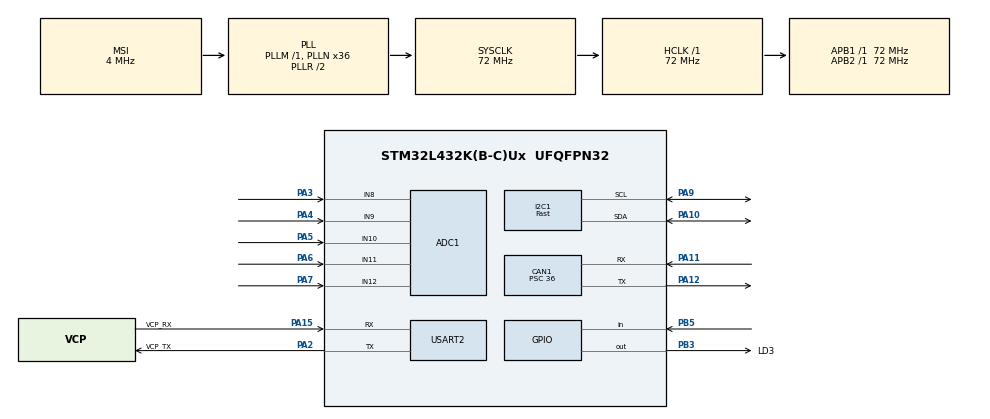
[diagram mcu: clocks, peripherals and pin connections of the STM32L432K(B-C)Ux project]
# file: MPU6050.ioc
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ADC1.Channel-0\#ChannelRegularConversion=ADC_CHANNEL_8
ADC1.Channel-1\#ChannelRegularConversion=ADC_CHANNEL_9
ADC1.Channel-2\#ChannelRegularConversion=ADC_CHANNEL_10
ADC1.Channel-3\#ChannelRegularConversion=ADC_CHANNEL_11
ADC1.Channel-4\#ChannelRegularConversion=ADC_CHANNEL_12
ADC1.ContinuousConvMode=DISABLE
ADC1.DMAContinuousRequests=ENABLE
ADC1.ExternalTrigConv=ADC_EXTERNALTRIG_T1_TRGO
ADC1.NbrOfConversion=5
ADC1.NbrOfConversionFlag=1
ADC1.OffsetNumber-0\#ChannelRegularConversion=ADC_OFFSET_NONE
ADC1.OffsetNumber-1\#ChannelRegularConversion=ADC_OFFSET_NONE
ADC1.OffsetNumber-2\#ChannelRegularConversion=ADC_OFFSET_NONE
ADC1.OffsetNumber-3\#ChannelRegularConversion=ADC_OFFSET_NONE
ADC1.OffsetNumber-4\#ChannelRegularConversion=ADC_OFFSET_NONE
ADC1.OversamplingMode=ENABLE
ADC1.Rank-0\#ChannelRegularConversion=1
ADC1.Rank-1\#ChannelRegularConversion=2
ADC1.Rank-2\#ChannelRegularConversion=3
ADC1.Rank-3\#ChannelRegularConversion=4
ADC1.Rank-4\#ChannelRegularConversion=5
ADC1.Ratio=ADC_OVERSAMPLING_RATIO_16
ADC1.RightBitShift=ADC_RIGHTBITSHIFT_4
ADC1.SamplingTime-0\#ChannelRegularConversion=ADC_SAMPLETIME_640CYCLES_5
ADC1.SamplingTime-1\#ChannelRegularConversion=ADC_SAMPLETIME_2CYCLES_5
ADC1.SamplingTime-2\#ChannelRegularConversion=ADC_SAMPLETIME_2CYCLES_5
ADC1.SamplingTime-3\#ChannelRegularConversion=ADC_SAMPLETIME_2CYCLES_5
ADC1.SamplingTime-4\#ChannelRegularConversion=ADC_SAMPLETIME_2CYCLES_5
ADC1.master=1
CAN1.BS1=CAN_BS1_3TQ
CAN1.BS2=CAN_BS2_4TQ
CAN1.CalculateBaudRate=250000
CAN1.CalculateTimeBit=4000
CAN1.CalculateTimeQuantum=500.0
CAN1.Prescaler=36
Dma.ADC1.0.Direction=DMA_PERIPH_TO_MEMORY
Dma.ADC1.0.Instance=DMA1_Channel1
Dma.ADC1.0.MemDataAlignment=DMA_MDATAALIGN_HALFWORD
Dma.ADC1.0.MemInc=DMA_MINC_ENABLE
Dma.ADC1.0.Mode=DMA_CIRCULAR
Dma.ADC1.0.PeriphDataAlignment=DMA_PDATAALIGN_HALFWORD
Dma.ADC1.0.PeriphInc=DMA_PINC_DISABLE
Dma.ADC1.0.Priority=DMA_PRIORITY_LOW
Dma.Request0=ADC1
I2C1.I2C_Speed_Mode=I2C_Fast
I2C1.Timing=0x00702681
Mcu.Family=STM32L4
Mcu.Name=STM32L432K(B-C)Ux
Mcu.Package=UFQFPN32
NVIC.DMA1_Channel1_IRQn=true\:0\:0\:false\:false\:true\:false\:true\:true
NVIC.PriorityGroup=NVIC_PRIORITYGROUP_4
PA10.Mode=I2C
PA10.Signal=I2C1_SDA
PA11.GPIO_PuPd=GPIO_PULLUP
PA11.Mode=CAN_Activate
PA11.Signal=CAN1_RX
PA12.Mode=CAN_Activate
PA12.Signal=CAN1_TX
PA13\ (JTMS-SWDIO).GPIO_Label=SWDIO
PA13\ (JTMS-SWDIO).Mode=Serial_Wire
PA13\ (JTMS-SWDIO).Signal=SYS_JTMS-SWDIO
PA14\ (JTCK-SWCLK).GPIO_Label=SWCLK
PA14\ (JTCK-SWCLK).Mode=Serial_Wire
PA14\ (JTCK-SWCLK).Signal=SYS_JTCK-SWCLK
PA15\ (JTDI).GPIO_Label=VCP_RX
PA15\ (JTDI).Mode=Asynchronous
PA15\ (JTDI).Signal=USART2_RX
PA2.GPIO_Label=VCP_TX
PA2.Mode=Asynchronous
PA2.Signal=USART2_TX
PA3.Signal=ADCx_IN8
PA4.Signal=ADCx_IN9
PA5.Signal=ADCx_IN10
PA6.Signal=ADCx_IN11
PA7.Signal=ADCx_IN12
PA9.Mode=I2C
PA9.Signal=I2C1_SCL
PB3\ (JTDO-TRACESWO).GPIO_Label=LD3
PB3\ (JTDO-TRACESWO).Signal=GPIO_Output
PB5.Signal=GPIO_Input
ProjectManager.HeapSize=0x200
ProjectManager.StackSize=0x400
ProjectManager.TargetToolchain=Makefile
RCC.ADCFreq_Value=32000000
RCC.AHBFreq_Value=72000000
RCC.APB1Freq_Value=72000000
RCC.APB1TimFreq_Value=72000000
RCC.APB2Freq_Value=72000000
RCC.APB2TimFreq_Value=72000000
RCC.CortexFreq_Value=72000000
RCC.HCLKFreq_Value=72000000
RCC.HSE_VALUE=8000000
RCC.HSI16_VALUE=16000000
RCC.HSI48_VALUE=48000000
RCC.HSI_VALUE=16000000
RCC.MSI_VALUE=4000000
RCC.PLLMUL=RCC_PLLMUL_4
RCC.PLLN=36
RCC.PLLSAI1N=16
RCC.SYSCLKFreq_VALUE=72000000
RCC.SYSCLKSource=RCC_SYSCLKSOURCE_PLLCLK
RCC.USBFreq_Value=32000000
RCC.VCOOutputFreq_Value=144000000
SH.ADCx_IN10.0=ADC1_IN10,IN10-Single-Ended
SH.ADCx_IN11.0=ADC1_IN11,IN11-Single-Ended
SH.ADCx_IN12.0=ADC1_IN12,IN12-Single-Ended
SH.ADCx_IN8.0=ADC1_IN8,IN8-Single-Ended
SH.ADCx_IN9.0=ADC1_IN9,IN9-Single-Ended
TIM1.Period=9999
TIM1.Prescaler=719
TIM1.TIM_MasterOutputTrigger=TIM_TRGO_UPDATE
USART2.VirtualMode-Asynchronous=VM_ASYNC
VP_TIM1_VS_ClockSourceINT.Mode=Internal
board=NUCLEO-L432KC

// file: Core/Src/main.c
/* USER CODE BEGIN Header */
/**
  ******************************************************************************
  * @file           : main.c
  * @brief          : Main program body
  ******************************************************************************
  * @attention
  *
  * Copyright (c) 2024 STMicroelectronics.
  * All rights reserved.
  *
  * This software is licensed under terms that can be found in the LICENSE file
  * in the root directory of this software component.
  * If no LICENSE file comes with this software, it is provided AS-IS.
  *
  ******************************************************************************
  */
/* USER CODE END Header */
#include "main.h"
#include "adc.h"
#include "can.h"
#include "dma.h"
#include "i2c.h"
#include "tim.h"
#include "usart.h"
#include "gpio.h"

/* USER CODE BEGIN Includes */
#include "stdio.h"
#include "app_can.h"
#include "math.h"
#include "ntc.h"
//#include "MPU6050.h"
//#include "CalculateAngle.h"
/* USER CODE END Includes */

/* USER CODE BEGIN PD */
#define LD3 GPIO_PIN_3
/* USER CODE END PD */

/* USER CODE BEGIN PV */
CAN_TxHeaderTypeDef TxHeader;
CAN_RxHeaderTypeDef RxHeader;

uint32_t TxMailbox[4];

uint8_t TxData[8];
uint8_t RxData[8];

uint16_t AdcRead[5];
uint16_t calculated_temperature[4];
uint16_t damper_adc_value;

NTC_t ntc;

const double R0 = 10000.0;   	//nominal resistance @ 25*C
const double T0 = 298.15;   	//reference temerature [K]
const double B  = 3950.0;     //thermistor constant
const double Rs	= 2200.0;    	//series resistor value
const double Ucc = 3.3;       //ADC referance voltage

/* USER CODE END PV */

void SystemClock_Config(void);

int main(void)
{

  /* MCU Configuration--------------------------------------------------------*/

  /* Reset of all peripherals, Initializes the Flash interface and the Systick. */
  HAL_Init();

  /* Configure the system clock */
  SystemClock_Config();

  /* Initialize all configured peripherals */
  MX_GPIO_Init();
  MX_DMA_Init();
  MX_USART2_UART_Init();
  MX_CAN1_Init();
  MX_I2C1_Init();
  MX_ADC1_Init();
  MX_TIM1_Init();
  /* USER CODE BEGIN 2 */

  //MPU6050_Initialization();

  NTC_Init(&ntc, R0, T0, B, Rs, Ucc);

  HAL_CAN_Start(&hcan1);

  HAL_CAN_ActivateNotification(&hcan1, CAN_IT_RX_FIFO0_MSG_PENDING);

  TxHeader.DLC = 4;
  TxHeader.ExtId = 0;
  TxHeader.IDE = CAN_ID_STD;
  TxHeader.RTR = CAN_RTR_DATA;
  TxHeader.StdId = 0x222;
  TxHeader.TransmitGlobalTime = DISABLE;

  HAL_TIM_Base_Start(&htim1);
  HAL_ADC_Start_DMA(&hadc1, (uint32_t*)AdcRead, 5);

  /* USER CODE END 2 */

  /* Infinite loop */
  while (1)
  {

  }
}

void SystemClock_Config(void)
{
  RCC_OscInitTypeDef RCC_OscInitStruct = {0};
  RCC_ClkInitTypeDef RCC_ClkInitStruct = {0};

  /** Configure the main internal regulator output voltage
  */
  if (HAL_PWREx_ControlVoltageScaling(PWR_REGULATOR_VOLTAGE_SCALE1) != HAL_OK)
  {
    Error_Handler();
  }

  /** Initializes the RCC Oscillators according to the specified parameters
  * in the RCC_OscInitTypeDef structure.
  */
  RCC_OscInitStruct.OscillatorType = RCC_OSCILLATORTYPE_MSI;
  RCC_OscInitStruct.MSIState = RCC_MSI_ON;
  RCC_OscInitStruct.MSICalibrationValue = 0;
  RCC_OscInitStruct.MSIClockRange = RCC_MSIRANGE_6;
  RCC_OscInitStruct.PLL.PLLState = RCC_PLL_ON;
  RCC_OscInitStruct.PLL.PLLSource = RCC_PLLSOURCE_MSI;
  RCC_OscInitStruct.PLL.PLLM = 1;
  RCC_OscInitStruct.PLL.PLLN = 36;
  RCC_OscInitStruct.PLL.PLLP = RCC_PLLP_DIV7;
  RCC_OscInitStruct.PLL.PLLQ = RCC_PLLQ_DIV2;
  RCC_OscInitStruct.PLL.PLLR = RCC_PLLR_DIV2;
  if (HAL_RCC_OscConfig(&RCC_OscInitStruct) != HAL_OK)
  {
    Error_Handler();
  }

  /** Initializes the CPU, AHB and APB buses clocks
  */
  RCC_ClkInitStruct.ClockType = RCC_CLOCKTYPE_HCLK|RCC_CLOCKTYPE_SYSCLK
                              |RCC_CLOCKTYPE_PCLK1|RCC_CLOCKTYPE_PCLK2;
  RCC_ClkInitStruct.SYSCLKSource = RCC_SYSCLKSOURCE_PLLCLK;
  RCC_ClkInitStruct.AHBCLKDivider = RCC_SYSCLK_DIV1;
  RCC_ClkInitStruct.APB1CLKDivider = RCC_HCLK_DIV1;
  RCC_ClkInitStruct.APB2CLKDivider = RCC_HCLK_DIV1;

  if (HAL_RCC_ClockConfig(&RCC_ClkInitStruct, FLASH_LATENCY_4) != HAL_OK)
  {
    Error_Handler();
  }
}

/* USER CODE BEGIN 4 */
void HAL_ADC_ConvCpltCallback(ADC_HandleTypeDef *hadc)
{
	if(hadc->Instance == ADC1)
	{
		uint8_t canFrame[8];
    for (uint8_t i = 0; i < 4; i++)
    {
      calculated_temperature[i] = NTC_CalculateTemperature(&ntc, AdcRead[i]);
      canFrame[i*2] =  calculated_temperature[i] & 0xff;
			canFrame[i*2+1] = (calculated_temperature[i] >> 8);
    }

    APP_CAN_Primary_Write(0x222, 8, canFrame);

	  damper_adc_value = AdcRead[4];
    uint8_t canFrame_2[2];
    canFrame_2[0] = damper_adc_value & 0xff;
    canFrame_2[1] = (damper_adc_value >> 8) & 0xff;

    APP_CAN_Primary_Write(0x122, 2, canFrame_2);

  }

}
/* USER CODE END 4 */

void Error_Handler(void)
{
  __disable_irq();
  while (1)
  {
  }
}
